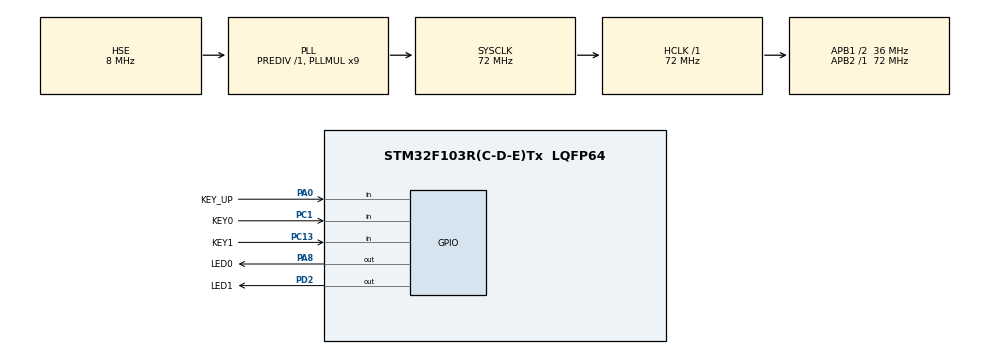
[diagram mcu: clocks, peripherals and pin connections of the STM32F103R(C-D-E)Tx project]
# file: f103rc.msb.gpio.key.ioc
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Mcu.Family=STM32F1
Mcu.Name=STM32F103R(C-D-E)Tx
Mcu.Package=LQFP64
NVIC.PriorityGroup=NVIC_PRIORITYGROUP_4
NVIC.TIM8_UP_IRQn=true\:0\:0\:false\:false\:true\:false\:true
NVIC.TimeBase=TIM8_UP_IRQn
NVIC.TimeBaseIP=TIM8
PA0-WKUP.GPIO_Label=KEY_UP
PA0-WKUP.GPIO_PuPd=GPIO_PULLDOWN
PA0-WKUP.Signal=GPIO_Input
PA13.Mode=Serial_Wire
PA13.Signal=SYS_JTMS-SWDIO
PA14.Mode=Serial_Wire
PA14.Signal=SYS_JTCK-SWCLK
PA8.GPIO_Label=LED0
PA8.GPIO_PuPd=GPIO_PULLUP
PA8.PinState=GPIO_PIN_SET
PA8.Signal=GPIO_Output
PC1.GPIO_Label=KEY0
PC1.GPIO_PuPd=GPIO_PULLUP
PC1.Signal=GPIO_Input
PC13-TAMPER-RTC.GPIO_Label=KEY1
PC13-TAMPER-RTC.GPIO_Mode=GPIO_MODE_INPUT
PC13-TAMPER-RTC.GPIO_PuPd=GPIO_PULLUP
PC13-TAMPER-RTC.Signal=GPIO_Input
PD0-OSC_IN.Mode=HSE-External-Clock-Source
PD0-OSC_IN.Signal=RCC_OSC_IN
PD1-OSC_OUT.Mode=HSE-External-Clock-Source
PD1-OSC_OUT.Signal=RCC_OSC_OUT
PD2.GPIO_Label=LED1
PD2.GPIO_PuPd=GPIO_PULLUP
PD2.PinState=GPIO_PIN_SET
PD2.Signal=GPIO_Output
ProjectManager.HeapSize=0x200
ProjectManager.StackSize=0x400
ProjectManager.TargetToolchain=STM32CubeIDE
RCC.AHBFreq_Value=72000000
RCC.APB1CLKDivider=RCC_HCLK_DIV2
RCC.APB1Freq_Value=36000000
RCC.APB1TimFreq_Value=72000000
RCC.APB2Freq_Value=72000000
RCC.APB2TimFreq_Value=72000000
RCC.HCLKFreq_Value=72000000
RCC.PLLMUL=RCC_PLL_MUL9
RCC.PLLSourceVirtual=RCC_PLLSOURCE_HSE
RCC.SYSCLKFreq_VALUE=72000000
RCC.SYSCLKSource=RCC_SYSCLKSOURCE_PLLCLK
RCC.USBFreq_Value=72000000
VP_SYS_VS_tim8.Mode=TIM8
board=custom

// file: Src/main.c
/* USER CODE BEGIN Header */
/**
  ******************************************************************************
  * @file           : main.c
  * @brief          : Main program body
  ******************************************************************************
  * @attention
  *
  * <h2><center>&copy; Copyright (c) 2019 STMicroelectronics.
  * All rights reserved.</center></h2>
  *
  * This software component is licensed by ST under BSD 3-Clause license,
  * the "License"; You may not use this file except in compliance with the
  * License. You may obtain a copy of the License at:
  *                        opensource.org/licenses/BSD-3-Clause
  *
  ******************************************************************************
  */
/* USER CODE END Header */

#include "main.h"

/* USER CODE BEGIN PD */
#define LED0  0
#define LED1  1
#define ON    0
#define OFF   1

#define SWITCH(x)       (~(x) & 0x1)
/* USER CODE END PD */

/* USER CODE BEGIN PV */
uint8_t led_value[2] = {OFF, OFF};
/* USER CODE END PV */

void SystemClock_Config(void);
static void MX_GPIO_Init(void);
/* USER CODE BEGIN PFP */
/**
  * @brief  control led light on or light off
  * @retval int
  */
int led_control(uint8_t num, uint8_t status)
{
  if(num != LED0 && num != LED1)
  {
    return -1;
  }

  if(status != ON && status != OFF)
  {
    return -1;
  }

  if (num == LED0)
  {
    HAL_GPIO_WritePin(LED0_GPIO_Port, LED0_Pin, status);
  }
  else if (num == LED1)
  {
    HAL_GPIO_WritePin(LED1_GPIO_Port, LED1_Pin, status);
  }

  return 0;
}

/**
  * @brief  key_sacn
  * @retval int
  */
int key_scan(void)
{
  GPIO_PinState state[3];
  uint8_t value = 0;

  // 按下是低电平0
  state[0] = HAL_GPIO_ReadPin(KEY0_GPIO_Port, KEY0_Pin);
  state[1] = HAL_GPIO_ReadPin(KEY1_GPIO_Port, KEY1_Pin);

  // 按下是高电平1
  state[2] = HAL_GPIO_ReadPin(KEY_UP_GPIO_Port, KEY_UP_Pin);

  // 取反, 使其按下后也是1
  state[0] = SWITCH(state[0]);
  state[1] = SWITCH(state[1]);
  value = state[0] | (state[1] << 1) | (state[2] << 2);

  // 松手监测
  while(1)
  {
    state[0] = HAL_GPIO_ReadPin(KEY0_GPIO_Port, KEY0_Pin);
    state[1] = HAL_GPIO_ReadPin(KEY1_GPIO_Port, KEY1_Pin);
    state[2] = HAL_GPIO_ReadPin(KEY_UP_GPIO_Port, KEY_UP_Pin);
    state[0] = SWITCH(state[0]);
    state[1] = SWITCH(state[1]);

    if((state[0] | (state[1] << 1) | (state[2] << 2)) == 0)
    {
      break;
    }
  }

  return value;
}

/**
  * @brief  key_control
  * @retval int
  */
void key_control(int value)
{
  if(value == 0x1)
  {
    led_value[0] = SWITCH(led_value[0]);
    led_control(LED0, led_value[0]);
  }
  else if(value == 0x2)
  {
    led_value[1] = SWITCH(led_value[1]);
    led_control(LED1, led_value[1]);
  }
  else if(value == 0x4)
  {
    led_value[0] = SWITCH(led_value[0]);
    led_value[1] = SWITCH(led_value[1]);
    led_control(LED0, led_value[0]);
    led_control(LED1, led_value[1]);
  }
}
/* USER CODE END PFP */

int main(void)
{
  /* USER CODE BEGIN 1 */
  int value;
  /* USER CODE END 1 */

  /* MCU Configuration--------------------------------------------------------*/

  /* Reset of all peripherals, Initializes the Flash interface and the Systick. */
  HAL_Init();

  /* Configure the system clock */
  SystemClock_Config();

  /* Initialize all configured peripherals */
  MX_GPIO_Init();

  /* Infinite loop */
  /* USER CODE BEGIN WHILE */
  while (1)
  {
    value = key_scan();
    key_control(value);
    HAL_Delay(10);
    /* USER CODE END WHILE */

  }
}

void SystemClock_Config(void)
{
  RCC_OscInitTypeDef RCC_OscInitStruct = {0};
  RCC_ClkInitTypeDef RCC_ClkInitStruct = {0};

  /** Initializes the CPU, AHB and APB busses clocks
  */
  RCC_OscInitStruct.OscillatorType = RCC_OSCILLATORTYPE_HSE;
  RCC_OscInitStruct.HSEState = RCC_HSE_BYPASS;
  RCC_OscInitStruct.HSEPredivValue = RCC_HSE_PREDIV_DIV1;
  RCC_OscInitStruct.HSIState = RCC_HSI_ON;
  RCC_OscInitStruct.PLL.PLLState = RCC_PLL_ON;
  RCC_OscInitStruct.PLL.PLLSource = RCC_PLLSOURCE_HSE;
  RCC_OscInitStruct.PLL.PLLMUL = RCC_PLL_MUL9;
  if (HAL_RCC_OscConfig(&RCC_OscInitStruct) != HAL_OK)
  {
    Error_Handler();
  }
  /** Initializes the CPU, AHB and APB busses clocks
  */
  RCC_ClkInitStruct.ClockType = RCC_CLOCKTYPE_HCLK|RCC_CLOCKTYPE_SYSCLK
                              |RCC_CLOCKTYPE_PCLK1|RCC_CLOCKTYPE_PCLK2;
  RCC_ClkInitStruct.SYSCLKSource = RCC_SYSCLKSOURCE_PLLCLK;
  RCC_ClkInitStruct.AHBCLKDivider = RCC_SYSCLK_DIV1;
  RCC_ClkInitStruct.APB1CLKDivider = RCC_HCLK_DIV2;
  RCC_ClkInitStruct.APB2CLKDivider = RCC_HCLK_DIV1;

  if (HAL_RCC_ClockConfig(&RCC_ClkInitStruct, FLASH_LATENCY_2) != HAL_OK)
  {
    Error_Handler();
  }
}

static void MX_GPIO_Init(void)
{
  GPIO_InitTypeDef GPIO_InitStruct = {0};

  /* GPIO Ports Clock Enable */
  __HAL_RCC_GPIOC_CLK_ENABLE();
  __HAL_RCC_GPIOD_CLK_ENABLE();
  __HAL_RCC_GPIOA_CLK_ENABLE();

  /*Configure GPIO pin Output Level */
  HAL_GPIO_WritePin(LED0_GPIO_Port, LED0_Pin, GPIO_PIN_SET);

  /*Configure GPIO pin Output Level */
  HAL_GPIO_WritePin(LED1_GPIO_Port, LED1_Pin, GPIO_PIN_SET);

  /*Configure GPIO pins : KEY1_Pin KEY0_Pin */
  GPIO_InitStruct.Pin = KEY1_Pin|KEY0_Pin;
  GPIO_InitStruct.Mode = GPIO_MODE_INPUT;
  GPIO_InitStruct.Pull = GPIO_PULLUP;
  HAL_GPIO_Init(GPIOC, &GPIO_InitStruct);

  /*Configure GPIO pin : KEY_UP_Pin */
  GPIO_InitStruct.Pin = KEY_UP_Pin;
  GPIO_InitStruct.Mode = GPIO_MODE_INPUT;
  GPIO_InitStruct.Pull = GPIO_PULLDOWN;
  HAL_GPIO_Init(KEY_UP_GPIO_Port, &GPIO_InitStruct);

  /*Configure GPIO pin : LED0_Pin */
  GPIO_InitStruct.Pin = LED0_Pin;
  GPIO_InitStruct.Mode = GPIO_MODE_OUTPUT_PP;
  GPIO_InitStruct.Pull = GPIO_PULLUP;
  GPIO_InitStruct.Speed = GPIO_SPEED_FREQ_LOW;
  HAL_GPIO_Init(LED0_GPIO_Port, &GPIO_InitStruct);

  /*Configure GPIO pin : LED1_Pin */
  GPIO_InitStruct.Pin = LED1_Pin;
  GPIO_InitStruct.Mode = GPIO_MODE_OUTPUT_PP;
  GPIO_InitStruct.Pull = GPIO_PULLUP;
  GPIO_InitStruct.Speed = GPIO_SPEED_FREQ_LOW;
  HAL_GPIO_Init(LED1_GPIO_Port, &GPIO_InitStruct);

}

void HAL_TIM_PeriodElapsedCallback(TIM_HandleTypeDef *htim)
{
  if (htim->Instance == TIM8) {
    HAL_IncTick();
  }
}

void Error_Handler(void)
{
}

/************************ (C) COPYRIGHT STMicroelectronics *****END OF FILE****/
